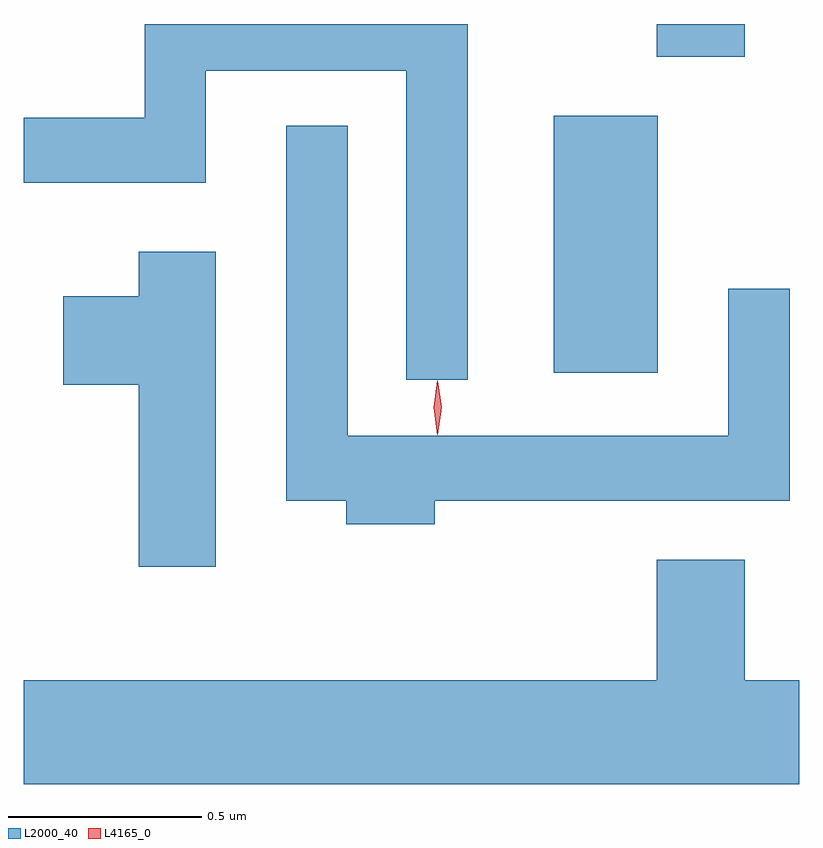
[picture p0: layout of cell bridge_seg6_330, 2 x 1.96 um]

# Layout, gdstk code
import gdstk
lib = gdstk.Library(unit=1e-6, precision=1e-09)
def R(c, l, rs):  # rectangles x0, y0, x1, y1
    for r in rs: c.add(gdstk.rectangle(r[:2], r[2:], *l))
def P(c, l, *ps):  # polygons
    for p in ps: c.add(gdstk.Polygon(p, *l))
L2000_40 = (2000, 40)
L4165_0 = (4165, 0)

bridge_seg6_330 = lib.new_cell('bridge_seg6_330')
R(bridge_seg6_330, L2000_40, [(1320.076,1535.556,1320.344,1536.219), (1320.341,1536.371,1320.569,1536.456)])
P(bridge_seg6_330, L2000_40, [(1319.854,1536.456),(1319.021,1536.456),(1319.021,1536.214),(1318.709,1536.214),(1318.709,1536.046),(1319.179,1536.046),(1319.179,1536.336),(1319.696,1536.336),(1319.696,1535.538),(1319.854,1535.538)],
  [(1319.769,1535.226),(1320.684,1535.226),(1320.684,1535.773),(1320.526,1535.773),(1320.526,1535.394),(1319.544,1535.394),(1319.544,1536.193),(1319.386,1536.193),(1319.386,1535.226),(1319.541,1535.226),(1319.541,1535.166),(1319.769,1535.166)],
  [(1319.204,1535.869),(1319.006,1535.869),(1319.006,1535.754),(1318.811,1535.754),(1318.811,1535.526),(1319.006,1535.526),(1319.006,1535.056),(1319.204,1535.056)],
  [(1320.709,1534.764),(1320.569,1534.764),(1320.569,1535.074),(1320.341,1535.074),(1320.341,1534.764),(1318.709,1534.764),(1318.709,1534.496),(1320.709,1534.496)])
P(bridge_seg6_330, L4165_0, [(1319.776,1535.397),(1319.767,1535.467),(1319.776,1535.536),(1319.777,1535.536),(1319.777,1535.536),(1319.787,1535.467),(1319.777,1535.397),(1319.777,1535.397)],
  [(1319.777,1535.399),(1319.776,1535.4),(1319.767,1535.466),(1319.776,1535.532),(1319.776,1535.533),(1319.777,1535.532),(1319.786,1535.466),(1319.777,1535.4)])

lib.write_gds('bridge_seg6_330.gds')
